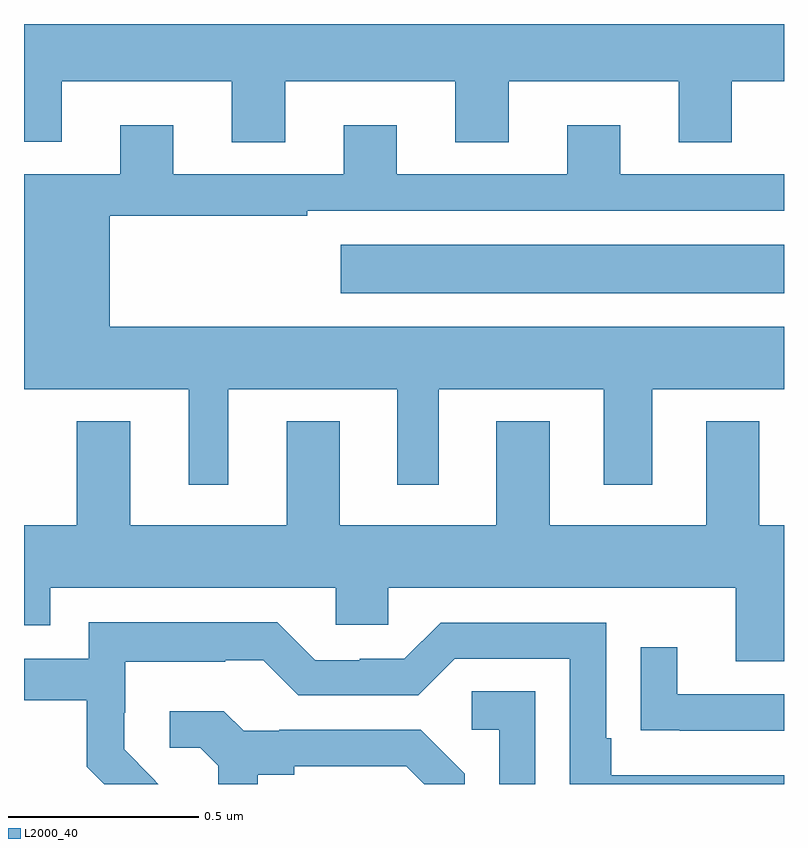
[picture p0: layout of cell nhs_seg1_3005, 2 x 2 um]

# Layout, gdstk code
import gdstk
lib = gdstk.Library(unit=1e-6, precision=1e-09)
def R(c, l, rs):  # rectangles x0, y0, x1, y1
    for r in rs: c.add(gdstk.rectangle(r[:2], r[2:], *l))
def P(c, l, *ps):  # polygons
    for p in ps: c.add(gdstk.Polygon(p, *l))
L2000_40 = (2000, 40)

nhs_seg1_3005 = lib.new_cell('nhs_seg1_3005')
R(nhs_seg1_3005, L2000_40, [(148.833,568.49,150,568.618)])
P(nhs_seg1_3005, L2000_40, [(148.687,569.048),(149.135,569.048),(149.135,568.888),(149.275,568.888),(149.275,569.048),(149.723,569.048),(149.723,568.888),(149.863,568.888),(149.863,569.048),(150,569.048),(150,569.199),(148,569.199),(148,568.889),(148.099,568.889),(148.099,569.048),(148.547,569.048),(148.547,568.888),(148.687,568.888)],
  [(148.537,568.238),(148.982,568.238),(148.982,567.987),(149.092,567.987),(149.092,568.238),(149.525,568.238),(149.525,567.987),(149.653,567.987),(149.653,568.238),(150,568.238),(150,568.402),(148.225,568.402),(148.225,568.695),(148.745,568.695),(148.745,568.707),(150,568.707),(150,568.803),(149.569,568.803),(149.569,568.933),(149.429,568.933),(149.429,568.803),(148.981,568.803),(148.981,568.933),(148.841,568.933),(148.841,568.803),(148.393,568.803),(148.393,568.933),(148.253,568.933),(148.253,568.804),(148,568.804),(148,568.238),(148.433,568.238),(148.433,567.987),(148.537,567.987)],
  [(150,567.88),(149.935,567.88),(149.935,568.153),(149.795,568.153),(149.795,567.88),(149.383,567.88),(149.383,568.153),(149.243,568.153),(149.243,567.88),(148.831,567.88),(148.831,568.153),(148.691,568.153),(148.691,567.88),(148.279,567.88),(148.279,568.153),(148.139,568.153),(148.139,567.88),(148,567.88),(148,567.617),(148.069,567.617),(148.069,567.716),(148.821,567.716),(148.821,567.618),(148.959,567.618),(148.959,567.716),(149.873,567.716),(149.873,567.522),(150,567.522)],
  [(148.337,567.215),(148.338,567.216),(148.264,567.29),(148.264,567.387),(148.266,567.387),(148.266,567.521),(148.529,567.521),(148.529,567.525),(148.629,567.525),(148.722,567.432),(149.037,567.432),(149.133,567.528),(149.436,567.528),(149.436,567.199),(150,567.199),(150,567.222),(149.545,567.222),(149.545,567.319),(149.532,567.319),(149.532,567.624),(149.097,567.624),(149.001,567.528),(148.883,567.528),(148.883,567.525),(148.767,567.525),(148.667,567.625),(148.17,567.625),(148.17,567.528),(148,567.528),(148,567.42),(148.165,567.42),(148.165,567.245),(148.211,567.199),(148.353,567.199)],
  [(150,567.435),(149.719,567.435),(149.719,567.559),(149.623,567.559),(149.623,567.34),(149.725,567.34),(149.725,567.339),(150,567.339)],
  [(149.346,567.443),(149.178,567.443),(149.178,567.342),(149.25,567.342),(149.25,567.199),(149.346,567.199)],
  [(148.615,567.224),(148.711,567.224),(148.711,567.246),(149.006,567.246),(149.053,567.199),(149.16,567.199),(149.16,567.226),(149.044,567.342),(148.672,567.342),(148.672,567.339),(148.578,567.339),(148.526,567.391),(148.383,567.391),(148.383,567.294),(148.464,567.294),(148.511,567.247),(148.511,567.199),(148.615,567.199)])

lib.write_gds('nhs_seg1_3005.gds')
